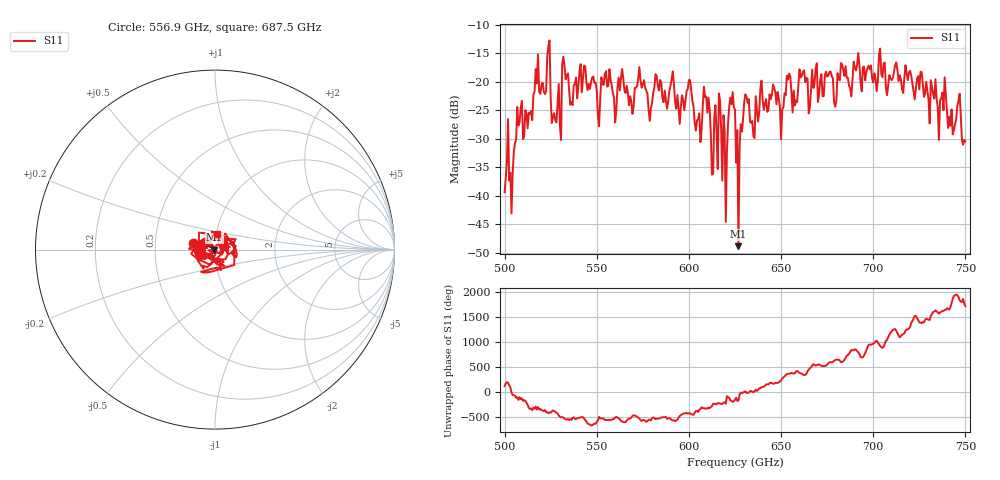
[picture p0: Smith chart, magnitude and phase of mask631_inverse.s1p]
!Created with skrf (http://scikit-rf.org).
# GHz S MA R 50.0
!freq magS11 angS11
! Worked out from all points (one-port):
!   401 points, 500 GHz to 750 GHz, reference 50 ohm
!   lowest |S11| = -48.9 dB at 626.9 GHz (marker M1), VSWR 1.01, Z = 49.6 - j0.0642 ohm
!   |S11| at or under -10 dB: start of sweep to end of sweep
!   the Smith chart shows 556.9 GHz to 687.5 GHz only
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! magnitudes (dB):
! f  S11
! 500 GHz  -39.4
! 516.9 GHz  -17.8
! 523.8 GHz  -13.7
! 526.9 GHz  -25.5
! 531.2 GHz  -16.9
! 532.5 GHz  -17.3
! 536.2 GHz  -23.5
! 562.5 GHz  -21.5
! 578.8 GHz  -26.9
! 590.6 GHz  -19.6
! 593.8 GHz  -22.3
! 600 GHz  -19.7
! 605.6 GHz  -25.6
! 609.4 GHz  -22.6
! 612.5 GHz  -36.3
! 617.5 GHz  -28.5
! 619.4 GHz  -28.6
! 622.5 GHz  -22.8
! 625 GHz  -24.9
! 626.9 GHz  -48.9
! 631.2 GHz  -22.6
! 634.4 GHz  -26.9
! 640 GHz  -23.2
! 656.2 GHz  -25.4
! 687.5 GHz  -21.1
! 718.8 GHz  -19.7
! 746.2 GHz  -23.3
! 750 GHz  -30.5
